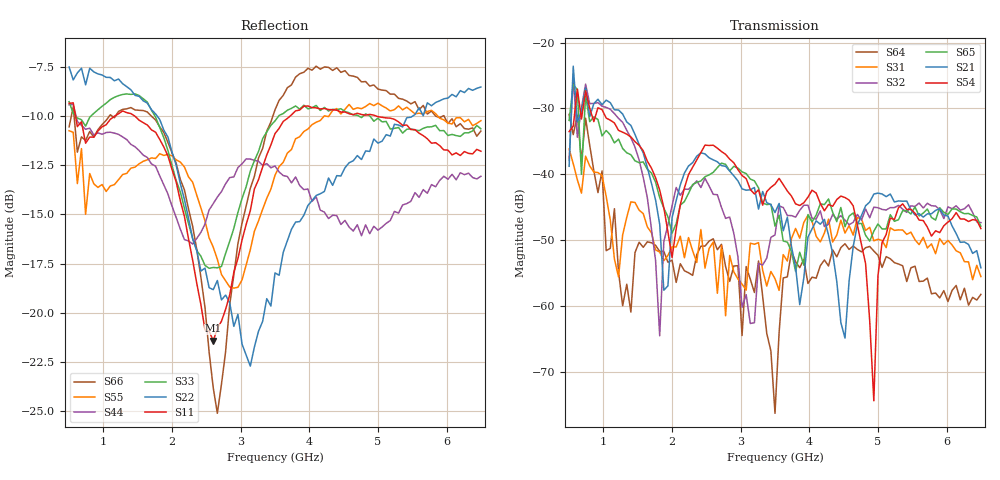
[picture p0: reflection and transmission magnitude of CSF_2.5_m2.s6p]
!Keysight Technologies,M9804A,MY58100912,A.14.10.03
!Date: Thursday, April 27, 2023 10:28:33
!Correction: S11(C  6-Port  )
!S12(C  6-Port  )
!S13(C  6-Port  )
!S14(C  6-Port  )
!S15(C  6-Port  )
!S16(C  6-Port  )
!S21(C  6-Port  )
!S22(C  6-Port  )
!S23(C  6-Port  )
!S24(C  6-Port  )
!S25(C  6-Port  )
!S26(C  6-Port  )
!S31(C  6-Port  )
!S32(C  6-Port  )
!S33(C  6-Port  )
!S34(C  6-Port  )
!S35(C  6-Port  )
!S36(C  6-Port  )
!S41(C  6-Port  )
!S42(C  6-Port  )
!S43(C  6-Port  )
!S44(C  6-Port  )
!S45(C  6-Port  )
!S46(C  6-Port  )
!S51(C  6-Port  )
!S52(C  6-Port  )
!S53(C  6-Port  )
!S54(C  6-Port  )
!S55(C  6-Port  )
!S56(C  6-Port  )
!S61(C  6-Port  )
!S62(C  6-Port  )
!S63(C  6-Port  )
!S64(C  6-Port  )
!S65(C  6-Port  )
!S66(C  6-Port  )
!S6P File: Measurement: :
# Hz S  RI  R 50
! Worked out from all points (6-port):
!   101 points, 500 MHz to 6.5 GHz, reference 50 ohm
!   strongest paths, dB at 500 MHz, 2 GHz, 3.5 GHz, 5 GHz, 6.5 GHz:
!     S54: -33.5, -52.6, -41.5, -55.4, -48.2
!     S21: -38.8, -46.6, -45.8, -42.8, -54.2
!     S65: -31.8, -48.9, -47.9, -47.5, -47.9
!     S32: -37.8, -44.8, -49.2, -45.1, -47.3
!     S31: -36.1, -51.0, -55.8, -49.8, -55.5
!     S64: -30.9, -53.0, -76.3, -52.3, -58.2
!   lowest |S11| = -21.4 dB at 2.6 GHz (marker M1), VSWR 1.19, Z = 42.5 + j2.27 ohm
!   |S11| at or under -10 dB: 594.2 MHz to 1.157 GHz (562.5 MHz wide, 64.3 % of centre); 1.462 GHz to 3.715 GHz (2.252 GHz wide, 87 % of centre); 4.989 GHz to end of sweep
